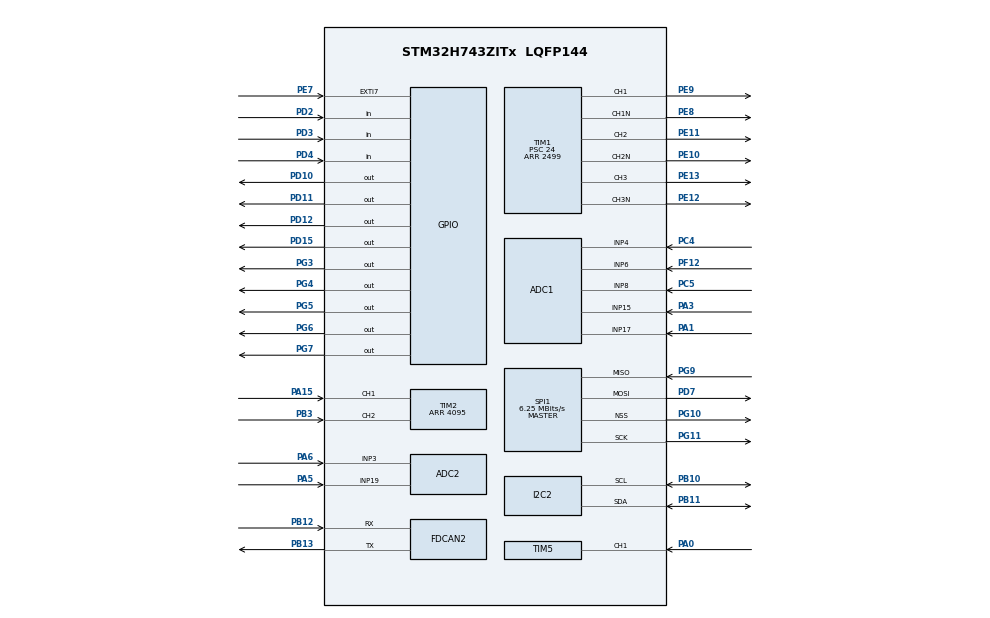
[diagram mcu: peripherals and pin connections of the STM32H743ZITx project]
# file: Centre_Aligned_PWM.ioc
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ADC1.Channel-0\#ChannelRegularConversion=ADC_CHANNEL_6
ADC1.Channel-1\#ChannelRegularConversion=ADC_CHANNEL_4
ADC1.Channel-2\#ChannelRegularConversion=ADC_CHANNEL_8
ADC1.Channel-3\#ChannelRegularConversion=ADC_CHANNEL_17
ADC1.Channel-4\#ChannelRegularConversion=ADC_CHANNEL_15
ADC1.ClockPrescaler=ADC_CLOCK_ASYNC_DIV4
ADC1.ContinuousConvMode=ENABLE
ADC1.ConversionDataManagement=ADC_CONVERSIONDATA_DMA_CIRCULAR
ADC1.ExternalTrigConv=ADC_SOFTWARE_START
ADC1.NbrOfConversion=5
ADC1.NbrOfConversionFlag=1
ADC1.OffsetNumber-0\#ChannelRegularConversion=ADC_OFFSET_NONE
ADC1.OffsetNumber-1\#ChannelRegularConversion=ADC_OFFSET_NONE
ADC1.OffsetNumber-2\#ChannelRegularConversion=ADC_OFFSET_NONE
ADC1.OffsetNumber-3\#ChannelRegularConversion=ADC_OFFSET_NONE
ADC1.OffsetNumber-4\#ChannelRegularConversion=ADC_OFFSET_NONE
ADC1.OffsetSignedSaturation-0\#ChannelRegularConversion=DISABLE
ADC1.OffsetSignedSaturation-1\#ChannelRegularConversion=DISABLE
ADC1.OffsetSignedSaturation-2\#ChannelRegularConversion=DISABLE
ADC1.OffsetSignedSaturation-3\#ChannelRegularConversion=DISABLE
ADC1.OffsetSignedSaturation-4\#ChannelRegularConversion=DISABLE
ADC1.Rank-0\#ChannelRegularConversion=1
ADC1.Rank-1\#ChannelRegularConversion=2
ADC1.Rank-2\#ChannelRegularConversion=3
ADC1.Rank-3\#ChannelRegularConversion=4
ADC1.Rank-4\#ChannelRegularConversion=5
ADC1.SamplingTime-0\#ChannelRegularConversion=ADC_SAMPLETIME_64CYCLES_5
ADC1.SamplingTime-1\#ChannelRegularConversion=ADC_SAMPLETIME_64CYCLES_5
ADC1.SamplingTime-2\#ChannelRegularConversion=ADC_SAMPLETIME_64CYCLES_5
ADC1.SamplingTime-3\#ChannelRegularConversion=ADC_SAMPLETIME_16CYCLES_5
ADC1.SamplingTime-4\#ChannelRegularConversion=ADC_SAMPLETIME_16CYCLES_5
ADC1.master=1
ADC2.ClockPrescaler=ADC_CLOCK_ASYNC_DIV4
ADC2.ContinuousConvMode=DISABLE
ADC2.ConversionDataManagement=ADC_CONVERSIONDATA_DR
ADC2.EnableInjectedConversion=ENABLE
ADC2.EnableRegularConversion=DISABLE
ADC2.ExternalTrigInjecConv=ADC_EXTERNALTRIGINJEC_T1_TRGO2
ADC2.InjNumberOfConversion=2
ADC2.InjectedChannel-4\#ChannelInjectedConversion=ADC_CHANNEL_3
ADC2.InjectedChannel-5\#ChannelInjectedConversion=ADC_CHANNEL_19
ADC2.InjectedConvMode=None
ADC2.InjectedOffsetNumber-4\#ChannelInjectedConversion=ADC_OFFSET_NONE
ADC2.InjectedOffsetNumber-5\#ChannelInjectedConversion=ADC_OFFSET_NONE
ADC2.InjectedOffsetSaturation-4\#ChannelInjectedConversion=DISABLE
ADC2.InjectedOffsetSaturation-5\#ChannelInjectedConversion=DISABLE
ADC2.InjectedOffsetSignedSaturation-4\#ChannelInjectedConversion=DISABLE
ADC2.InjectedOffsetSignedSaturation-5\#ChannelInjectedConversion=DISABLE
ADC2.InjectedRank-4\#ChannelInjectedConversion=1
ADC2.InjectedRank-5\#ChannelInjectedConversion=2
ADC2.InjectedSamplingTime-4\#ChannelInjectedConversion=ADC_SAMPLETIME_64CYCLES_5
ADC2.InjectedSamplingTime-5\#ChannelInjectedConversion=ADC_SAMPLETIME_64CYCLES_5
ADC2.injectedQueueMode=DISABLE
Dma.ADC1.0.Direction=DMA_PERIPH_TO_MEMORY
Dma.ADC1.0.EventEnable=DISABLE
Dma.ADC1.0.FIFOMode=DMA_FIFOMODE_DISABLE
Dma.ADC1.0.Instance=DMA1_Stream0
Dma.ADC1.0.MemDataAlignment=DMA_MDATAALIGN_HALFWORD
Dma.ADC1.0.MemInc=DMA_MINC_ENABLE
Dma.ADC1.0.Mode=DMA_CIRCULAR
Dma.ADC1.0.PeriphDataAlignment=DMA_PDATAALIGN_HALFWORD
Dma.ADC1.0.PeriphInc=DMA_PINC_DISABLE
Dma.ADC1.0.Polarity=HAL_DMAMUX_REQ_GEN_RISING
Dma.ADC1.0.Priority=DMA_PRIORITY_MEDIUM
Dma.ADC1.0.RequestNumber=1
Dma.ADC1.0.SignalID=NONE
Dma.ADC1.0.SyncEnable=DISABLE
Dma.ADC1.0.SyncPolarity=HAL_DMAMUX_SYNC_NO_EVENT
Dma.ADC1.0.SyncRequestNumber=1
Dma.ADC1.0.SyncSignalID=NONE
Dma.Request0=ADC1
FDCAN2.AutoRetransmission=ENABLE
FDCAN2.CalculateBaudRateNominal=250000
FDCAN2.CalculateTimeBitNominal=4000
FDCAN2.CalculateTimeQuantumNominal=200.0
FDCAN2.DataPrescaler=10
FDCAN2.DataTimeSeg1=16
FDCAN2.DataTimeSeg2=3
FDCAN2.NominalPrescaler=10
FDCAN2.NominalTimeSeg1=16
FDCAN2.NominalTimeSeg2=3
FDCAN2.RxBuffersNbr=6
FDCAN2.RxFifo0ElmtsNbr=6
FDCAN2.RxFifo1ElmtsNbr=6
FDCAN2.StdFiltersNbr=8
FDCAN2.TxBuffersNbr=8
FDCAN2.TxFifoQueueElmtsNbr=8
I2C2.CustomTiming=Enabled
I2C2.Timing=0x10C0ECFF
Mcu.Family=STM32H7
Mcu.Name=STM32H743ZITx
Mcu.Package=LQFP144
NVIC.ADC_IRQn=true\:0\:0\:false\:false\:true\:true\:true\:true
NVIC.DMA1_Stream0_IRQn=true\:5\:0\:true\:false\:true\:false\:true\:true
NVIC.EXTI9_5_IRQn=true\:3\:0\:true\:false\:true\:true\:true\:true
NVIC.FDCAN2_IT0_IRQn=true\:6\:0\:true\:false\:true\:true\:true\:true
NVIC.FDCAN2_IT1_IRQn=true\:6\:0\:true\:false\:true\:true\:true\:true
NVIC.PriorityGroup=NVIC_PRIORITYGROUP_4
NVIC.TIM17_IRQn=true\:2\:0\:true\:false\:true\:true\:true\:true
NVIC.TIM2_IRQn=true\:1\:0\:true\:false\:true\:true\:true\:true
NVIC.TIM4_IRQn=true\:7\:0\:true\:false\:true\:true\:true\:true
NVIC.TIM5_IRQn=true\:4\:0\:true\:false\:true\:true\:true\:true
PA0.Signal=S_TIM5_CH1
PA1.Mode=IN17-Single-Ended
PA1.Signal=ADC1_INP17
PA15\ (JTDI).Signal=S_TIM2_CH1_ETR
PA3.Signal=ADCx_INP15
PA5.Signal=ADCx_INP19
PA6.Signal=ADCx_INP3
PB10.Mode=I2C
PB10.Signal=I2C2_SCL
PB11.Mode=I2C
PB11.Signal=I2C2_SDA
PB12.Mode=FDCAN_Activate
PB12.Signal=FDCAN2_RX
PB13.Mode=FDCAN_Activate
PB13.Signal=FDCAN2_TX
PB3\ (JTDO/TRACESWO).Signal=S_TIM2_CH2
PC4.Signal=ADCx_INP4
PC5.Signal=ADCx_INP8
PD10.Signal=GPIO_Output
PD11.Signal=GPIO_Output
PD12.Signal=GPIO_Output
PD15.GPIO_Speed=GPIO_SPEED_FREQ_VERY_HIGH
PD15.PinState=GPIO_PIN_SET
PD15.Signal=GPIO_Output
PD2.Signal=GPIO_Input
PD3.GPIO_PuPd=GPIO_PULLUP
PD3.Signal=GPIO_Input
PD4.GPIO_PuPd=GPIO_PULLUP
PD4.Signal=GPIO_Input
PD7.Mode=Full_Duplex_Master
PD7.Signal=SPI1_MOSI
PE10.Mode=PWM Generation2 CH2 CH2N
PE10.Signal=TIM1_CH2N
PE11.Signal=S_TIM1_CH2
PE12.Mode=PWM Generation3 CH3 CH3N
PE12.Signal=TIM1_CH3N
PE13.Signal=S_TIM1_CH3
PE7.Signal=GPXTI7
PE8.Mode=PWM Generation1 CH1 CH1N
PE8.Signal=TIM1_CH1N
PE9.Signal=S_TIM1_CH1
PF12.Mode=IN6-Single-Ended
PF12.Signal=ADC1_INP6
PG10.Mode=NSS_Signal_Hard_Output
PG10.Signal=SPI1_NSS
PG11.Mode=Full_Duplex_Master
PG11.Signal=SPI1_SCK
PG3.GPIO_PuPd=GPIO_PULLUP
PG3.GPIO_Speed=GPIO_SPEED_FREQ_MEDIUM
PG3.PinState=GPIO_PIN_SET
PG3.Signal=GPIO_Output
PG4.GPIO_PuPd=GPIO_PULLUP
PG4.GPIO_Speed=GPIO_SPEED_FREQ_MEDIUM
PG4.PinState=GPIO_PIN_SET
PG4.Signal=GPIO_Output
PG5.GPIO_PuPd=GPIO_PULLDOWN
PG5.GPIO_Speed=GPIO_SPEED_FREQ_MEDIUM
PG5.Signal=GPIO_Output
PG6.GPIO_ModeDefaultOutputPP=GPIO_MODE_OUTPUT_PP
PG6.GPIO_PuPd=GPIO_PULLDOWN
PG6.GPIO_Speed=GPIO_SPEED_FREQ_MEDIUM
PG6.Signal=GPIO_Output
PG7.GPIO_PuPd=GPIO_PULLDOWN
PG7.GPIO_Speed=GPIO_SPEED_FREQ_MEDIUM
PG7.Signal=GPIO_Output
PG9.Mode=Full_Duplex_Master
PG9.Signal=SPI1_MISO
ProjectManager.HeapSize=0x200
ProjectManager.StackSize=0x400
ProjectManager.TargetToolchain=STM32CubeIDE
RCC.ADCFreq_Value=37500000
RCC.APB1Freq_Value=50000000
RCC.APB2Freq_Value=100000000
RCC.APB3Freq_Value=100000000
RCC.APB4Freq_Value=100000000
RCC.CortexFreq_Value=100000000
RCC.D2PPRE1=RCC_APB1_DIV2
RCC.DIVM1=4
RCC.DIVM2=4
RCC.DIVN1=12
RCC.DIVN2=9
RCC.DIVP2=4
RCC.DIVQ1=4
RCC.FLatency=FLASH_LATENCY_2
RCC.HCLKFreq_Value=100000000
RCC.HSICalibrationValue=64
RCC.PLL2FRACN=3072
RCC.PLLFRACN=4096
RCC.ProductRev=revV
RCC.SYSCLKFreq_VALUE=100000000
RCC.SYSCLKSource=RCC_SYSCLKSOURCE_PLLCLK
RCC.USBFreq_Value=50000000
SH.ADCx_INP15.0=ADC1_INP15,IN15-Single-Ended
SH.ADCx_INP19.0=ADC2_INP19,IN19-Single-Ended
SH.ADCx_INP3.0=ADC2_INP3,IN3-Single-Ended
SH.ADCx_INP4.0=ADC1_INP4,IN4-Single-Ended
SH.ADCx_INP8.0=ADC1_INP8,IN8-Single-Ended
SH.S_TIM1_CH1.0=TIM1_CH1,PWM Generation1 CH1 CH1N
SH.S_TIM1_CH2.0=TIM1_CH2,PWM Generation2 CH2 CH2N
SH.S_TIM1_CH3.0=TIM1_CH3,PWM Generation3 CH3 CH3N
SH.S_TIM2_CH1_ETR.0=TIM2_CH1,Encoder_Interface
SH.S_TIM2_CH2.0=TIM2_CH2,Encoder_Interface
SH.S_TIM5_CH1.0=TIM5_CH1,PWM_Input_1
SPI1.BaudRatePrescaler=SPI_BAUDRATEPRESCALER_8
SPI1.CLKPhase=SPI_PHASE_2EDGE
SPI1.CLKPolarity=SPI_POLARITY_HIGH
SPI1.CalculateBaudRate=6.25 MBits/s
SPI1.DataSize=SPI_DATASIZE_8BIT
SPI1.Direction=SPI_DIRECTION_2LINES
SPI1.Mode=SPI_MODE_MASTER
SPI1.NSSPMode=SPI_NSS_PULSE_DISABLE
SPI1.NSSPolarity=SPI_NSS_POLARITY_LOW
SPI1.VirtualNSS=VM_NSSHARD
SPI1.VirtualType=VM_MASTER
TIM1.AutoReloadPreload=TIM_AUTORELOAD_PRELOAD_ENABLE
TIM1.Channel-PWM\ Generation1\ CH1\ CH1N=TIM_CHANNEL_1
TIM1.Channel-PWM\ Generation2\ CH2\ CH2N=TIM_CHANNEL_2
TIM1.Channel-PWM\ Generation3\ CH3\ CH3N=TIM_CHANNEL_3
TIM1.Channel-PWM\ Generation4\ No\ Output=TIM_CHANNEL_4
TIM1.CounterMode=TIM_COUNTERMODE_CENTERALIGNED1
TIM1.DeadTime=200
TIM1.OCNIdleState_1=TIM_OCNIDLESTATE_SET
TIM1.OCNIdleState_2=TIM_OCNIDLESTATE_SET
TIM1.OCNIdleState_3=TIM_OCNIDLESTATE_SET
TIM1.OCNPolarity_1=TIM_OCNPOLARITY_HIGH
TIM1.Period=2499
TIM1.Prescaler=24
TIM1.Pulse-PWM\ Generation3\ CH3\ CH3N=0
TIM1.Pulse-PWM\ Generation4\ No\ Output=1250
TIM1.RepetitionCounter=0
TIM1.TIM_MasterOutputTrigger=TIM_TRGO_RESET
TIM1.TIM_MasterOutputTrigger2=TIM_TRGO2_OC4REF
TIM1.TIM_MasterSlaveMode=TIM_MASTERSLAVEMODE_ENABLE
TIM17.AutoReloadPreload=TIM_AUTORELOAD_PRELOAD_ENABLE
TIM17.Period=2499
TIM17.Prescaler=3
TIM2.AutoReloadPreload=TIM_AUTORELOAD_PRELOAD_ENABLE
TIM2.EncoderMode=TIM_ENCODERMODE_TI12
TIM2.IC1Filter=10
TIM2.IC2Filter=10
TIM2.Period=4095
TIM5.ICFilter_1=10
TIM5.ICFilter_2=10
TIM5.Prescaler=99
VP_TIM17_VS_ClockSourceINT.Mode=Enable_Timer
VP_TIM1_VS_ClockSourceINT.Mode=Internal
VP_TIM1_VS_no_output4.Mode=PWM Generation4 No Output
VP_TIM4_VS_ClockSourceINT.Mode=Internal
VP_TIM5_VS_ClockSourceINT.Mode=Internal
board=custom

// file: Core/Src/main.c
/* USER CODE BEGIN Header */
/**
 ******************************************************************************
 * @file           : main.c
 * @brief          : Main program body
 ******************************************************************************
 * @attention
 *
 * Copyright (c) 2025 STMicroelectronics.
 * All rights reserved.
 *
 * This software is licensed under terms that can be found in the LICENSE file
 * in the root directory of this software component.
 * If no LICENSE file comes with this software, it is provided AS-IS.
 *
 ******************************************************************************
 */
/* USER CODE END Header */
#include "main.h"

ADC_HandleTypeDef hadc1;
ADC_HandleTypeDef hadc2;
DMA_HandleTypeDef hdma_adc1;

FDCAN_HandleTypeDef hfdcan2;

I2C_HandleTypeDef hi2c2;

SPI_HandleTypeDef hspi1;

TIM_HandleTypeDef htim1;
TIM_HandleTypeDef htim2;
TIM_HandleTypeDef htim4;
TIM_HandleTypeDef htim5;
TIM_HandleTypeDef htim17;

/* USER CODE BEGIN 0 */
uint8_t heart_beat_init[8] = {0x01, 0x04};
uint8_t rxMsg[8] = {0};
uint16_t injectedVal[2] = {0};
uint16_t currSensOff[2] = {0, 0};
uint16_t adc1_buffer[5] = {0};
uint16_t counter = 0;
uint32_t ia_offset = 0;
uint32_t ib_offset = 0;

/* Autotune stuct instances */
tag_AngleAutoTuneDebugParam TagAutotuneDebug;
tag_AngleAutoTuneOutputParam TagAutotuneOutput;
tag_AngleAutoTuneInputParam TagAutotuneInput;
tag_AutotuneConfig AutotuneConfig;

fnr_state_t fnr_state = NEUTRAL;
power_mode_t pw_state = ECO;
currSession cS = INIT;
errors_nums err = NO_ERROR;
errors er = {0};
can_data_t can_d = {.can_Lambda = LAMBDA, .can_Ld = LD, .can_Lq = LQ, .canFW_params.M_to_F = FW_M2F, .canFW_params.F_to_M = FW_F2M, .canFW_params.Kaw = FW_KAW, .canFW_params.Kfw = FW_KFW, .canFW_params.Rst_Factor = FW_RST_FACTOR, .canSpeed_PID.Kp = SPEED_KP, .canSpeed_PID.Ki = SPEED_KI, .canSpeed_PID.Kd = SPEED_KD, .canSpeed_PID.Back_Kaw = SPEED_PID_BACK_KAW, .canSpeed_PID.Kd_Filter = SPEED_KD_FILTER, .canSpeed_PID.Output_Up_Limit = SPEED_PID_OUT_UPL, .canSpeed_PID.Output_Low_Limit = SPEED_PID_OUT_LOWL, .canId_PID.Kp = ID_KP, .canId_PID.Ki = ID_KI, .canId_PID.Kd = ID_KD, .canId_PID.Back_Kaw = ID_PID_BACK_KAW, .canId_PID.Kd_Filter = ID_KD_FILTER, .canId_PID.Output_Up_Limit = ID_PID_OUT_UPL, .canId_PID.Output_Low_Limit = ID_PID_OUT_LOWL, .canIq_PID.Kp = IQ_KP, .canIq_PID.Ki = IQ_KI, .canIq_PID.Kd = IQ_KD, .canIq_PID.Back_Kaw = IQ_PID_BACK_KAW, .canIq_PID.Kd_Filter = IQ_KD_FILTER, .canIq_PID.Output_Up_Limit = IQ_PID_OUT_UPL, .canIq_PID.Output_Low_Limit = IQ_PID_OUT_LOWL};
data d = {.tuning_enabled = 0, .canBus_ok = 1, .Kvf = V_F_RATIO, .speed_ref = 0.0f, .start_alignment = 1, .end_alignment = 0, .Vmax_SVM = SVM_VOLTAGE_LIMIT, .pole_pair = POLEPAIRS, .Vdc = OP_VOLTAGE};

/* P4 pending flags — EEPROM write deferred out of TIM17 ISR */
static volatile uint8_t  eeprom_write_pending = 0;
static volatile uint16_t eeprom_cw_pending    = 0;
static volatile uint16_t eeprom_ccw_pending   = 0;
/* USER CODE END 0 */

int main(void)
{
  /* USER CODE BEGIN 1 */
  SCB_EnableICache();
  /* USER CODE END 1 */

  /* MCU Configuration--------------------------------------------------------*/

  /* Reset of all peripherals, Initializes the Flash interface and the Systick. */
  HAL_Init();

  /* Configure the system clock */
  SystemClock_Config();

/* Configure the peripherals common clocks */
  PeriphCommonClock_Config();

  /* USER CODE BEGIN SysInit */
  #if EST_CYC_CNT
  CoreDebug->DEMCR |= CoreDebug_DEMCR_TRCENA_Msk;
  DWT->CYCCNT = 0;
  DWT->CTRL |= DWT_CTRL_CYCCNTENA_Msk;
  #endif
  /* USER CODE END SysInit */

  /* Initialize all configured peripherals */
  MX_GPIO_Init();
  MX_DMA_Init();
  MX_TIM1_Init();
  MX_ADC2_Init();
  MX_TIM5_Init();
  MX_TIM17_Init();
  MX_ADC1_Init();
  MX_TIM2_Init();
  MX_FDCAN2_Init();
  MX_I2C2_Init();
  MX_TIM4_Init();
  MX_SPI1_Init();
  /* USER CODE BEGIN 2 */
  HAL_Delay(10);

  /* Stopping all TIM1 for safety precauiton at program start */
  HAL_TIM_PWM_Stop(&htim1, TIM_CHANNEL_3);
  HAL_TIM_PWM_Stop(&htim1, TIM_CHANNEL_2);
  HAL_TIM_PWM_Stop(&htim1, TIM_CHANNEL_1);

  HAL_TIMEx_PWMN_Stop(&htim1, TIM_CHANNEL_3);
  HAL_TIMEx_PWMN_Stop(&htim1, TIM_CHANNEL_2);
  HAL_TIMEx_PWMN_Stop(&htim1, TIM_CHANNEL_1);
  /* USER CODE END 2 */

  /* Infinite loop */
  /* USER CODE BEGIN WHILE */
  /* First read EEPROM for calib done flag */
  Read_EEPROM_at_init();
  HAL_Delay(10);

  #if TUNING_ENABLED
  d.tuning_enabled = 1;
  #endif

  #if !TUNING_ENABLED
  d.tuning_enabled = 0;
  cS = ANGLE_CALIB_DONE;
  #endif

  if (cS == INIT && d.tuning_enabled) {
    AD2S1210_Init();
    set_Initial_angle();
    /* Setting Auto tune algo input params */
    AutotuneConfig.f_idSetRef = AUTO_TUNING_IDREF;
    AutotuneConfig.f_IdRefIncrementValue = AUTOTUNE_IDREF_INCREMENT;
    AutotuneConfig.f_CalibElectricalAngleInc = AUTOTUNE_ANGLE_INCREMENT;
    AutotuneConfig.F_MaxVd = MAX_VD;
    AutotuneConfig.F_MinVd = MIN_VD;
    AutotuneConfig.f_Electrical360Rad = ANGLE_RAD_360;
    AutotuneConfig.u8_MOTOR_POLE_PAIRS = MOTOR_POLE_PAIRS;
    AutotuneConfig.u16_AO_Set_Time = AO_SET_TIME;
    AutotuneConfig.u16FreeRunTmo = AUTOTUNE_FREERUNCOUNT;
    AutotuneConfig.f_Autotune_RPM_Set_Ref = TUNING_CALC_RPM;
    AutotuneConfig.u16StateChangeTMO = AUTOTUNESTATE_CHANGE_TMO;
    AutotuneConfig.u16_AUTOTUN_SPEED_RAMP_TIME = AUTOTUN_SPEED_RAMP_TIME;
    AutotuneConfig.u16_AUTOTUNE_SPEED_RAMP = AUTOTUNE_SPEED_RAMP;
    AutotuneConfig.u16_MAX_ITERATION = MAX_ITERATION;
    AutotuneConfig.u16_ALIGNEMENT_TMO = ALIGNEMENT_TMO;
    AutotuneConfig.u16_AVERAGE_SAMPLE = AVERAGE_SAMPLE;
    AutotuneConfig.u16_VD_VQ_AVERAGE_COUNT = VD_VQ_AVERAGE_COUNT;
    AutotuneInit(&AutotuneConfig);
  } else if (cS == ANGLE_CALIB_DONE) {
    #if RESOLVER_ENABLED
    AD2S1210_Init();
    set_Initial_angle();
    #endif
    #if !RESOLVER_ENABLED
    set_Initial_angle();
    #endif
    Disable_tim5();
    //cS = ENC_READ;
  }
    /* USER CODE END WHILE */

    /* USER CODE BEGIN 3 */
  // Start encoder capture on both channels with interrupts
  if (HAL_TIM_Encoder_Start_IT(&htim2, TIM_CHANNEL_ALL) != HAL_OK)
    Error_Handler();

  __HAL_TIM_SET_COMPARE(&htim1, TIM_CHANNEL_3, 0);
  __HAL_TIM_SET_COMPARE(&htim1, TIM_CHANNEL_2, 0);
  __HAL_TIM_SET_COMPARE(&htim1, TIM_CHANNEL_1, 0);

  HAL_ADCEx_Calibration_Start(&hadc2, ADC_CALIB_OFFSET, ADC_SINGLE_ENDED);
  HAL_ADCEx_Calibration_Start(&hadc1, ADC_CALIB_OFFSET, ADC_SINGLE_ENDED);
  HAL_Delay(10);

  HAL_ADC_Start_DMA(&hadc1, (uint32_t *)adc1_buffer, 5);

  /* Initializing FOC and Protections model */
  FOC_MTPA_FWC_FF_initialize();
  Open_FOC0_initialize();
  Offset0_initialize();
  Angle_to_Speed_initialize();
  #if PROTECTION_MODEL
  MCU_Protections_initialize();
  #endif
  RateLimiter_Init(&limiter, 100.0f, 600.0f, 0.0f);
  RateLimiter_Init(&torqueRate, 10.0f, 10.0f, 0.0f);
  #if OFFSET_SCHEDULER
  OffsetScheduler_Init(&g_offset_sched, d.offset_angle_mech_cw, OFFSET_HIGH_RAD, d.offset_angle_mech_ccw);
  #endif
  HAL_Delay(10);

  /*Starting FDCAN2, Queue Init and Throttle Init*/
  FDCAN_SETUP();
  CAN_Queue_Init();
  #if THROTTLE_BASED_REF
  App_Init();
  #endif

  /*Sending Heartbeat message once at init and sending PID values*/
  _fdcan_transmit_on_can(0x400, 0, heart_beat_init, 0x08);
  /* Enable LED */
  HAL_GPIO_WritePin(GPIOD, GPIO_PIN_10|GPIO_PIN_11|GPIO_PIN_12, GPIO_PIN_SET);

  /*Starting ADC2 Injected conversions first*/
  HAL_ADCEx_InjectedStart_IT(&hadc2);
  HAL_TIM_Base_Start_IT(&htim17);

  /*Then starting TIM1 complementary channels and trigger channel*/
  HAL_TIM_PWM_Start(&htim1, TIM_CHANNEL_3);
  HAL_TIM_PWM_Start(&htim1, TIM_CHANNEL_2);
  HAL_TIM_PWM_Start(&htim1, TIM_CHANNEL_1);

  HAL_TIMEx_PWMN_Start(&htim1, TIM_CHANNEL_3);
  HAL_TIMEx_PWMN_Start(&htim1, TIM_CHANNEL_2);
  HAL_TIMEx_PWMN_Start(&htim1, TIM_CHANNEL_1);

  HAL_TIM_PWM_Start(&htim1, TIM_CHANNEL_4);

  while (1)
  {
    /* USER CODE END WHILE */

    /* USER CODE BEGIN 3 */
    uint32_t time_stamp_now = HAL_GetTick();

    /* P4: deferred EEPROM write (ISR set flag to avoid blocking 1kHz TIM17) */
    if (eeprom_write_pending && cS == ANGLE_CALIB_DONE)
    {
      eeprom_write_pending = 0;
      if (EEPROM_Write_Page0(eeprom_cw_pending, eeprom_ccw_pending) == HAL_OK)
        HAL_NVIC_SystemReset();
      else
      {
        er.eeprom_write_error = 1;
        err = EEPROM_WRITE_ERROR;
      }
    }

    if (cS == FOC_START)
      power_mode_fnr_switch();

    /* Gathering ADC1 values */
    ADC1_Analog_Val_Update();
    #if PROTECTION_MODEL
    /* MCU Proctections Model input update */
    Model_Params_Input();
    /* Running MCU protections model */
    MCU_Protections_step();
    /* Checking the MCU Protections Model output flags and setting error flags */
    Model_Output_Flag_Checks();
    #endif

    #if CAN_BASED_REF
    if (cS == FOC_START && FOC_MTPA_FWC_FF_U.Speed_1_Torque_0 == 1)
      FOC_MTPA_FWC_FF_U.Ref_Speed_mech_rpm = RateLimiter_Update(&limiter, d.speed_ref, ((float)time_stamp_now * 0.001f));
    else if (cS == OPEN_FOC_START)
      Open_FOC0_U.Speed_ref = RateLimiter_Update(&limiter, d.speed_ref, ((float)time_stamp_now * 0.001f));
    #endif

    #if THROTTLE_BASED_REF
    if (FOC_MTPA_FWC_FF_U.Speed_1_Torque_0 == 1 && cS == FOC_START) {
      d.speed_ref = (float)ThrottleMap_GetRPM(&g_throttle_cfg, d.thr_v_mv);
      /* Pass target_rpm into your FOC speed reference */
      FOC_MTPA_FWC_FF_U.Ref_Speed_mech_rpm = RateLimiter_Update(&limiter, d.speed_ref, ((float)time_stamp_now * 0.001f));
    } else if (FOC_MTPA_FWC_FF_U.Speed_1_Torque_0 == 0 && cS == FOC_START) {
      float max_torque = get_torque_speed_limit(d.rad_s);
      float torque_ref = ThrottleMap_GetTorque(&g_throttle_cfg, d.thr_v_mv, max_torque);
      d.torque_final = apply_torque_scaling(torque_ref, d.rad_s, pw_state, fnr_state, (float)d.Mtr_temp, (float)d.Mtc_temp, &taper_state, &derate_result);
      /* Pass target_reftrq into your FOC Torque reference */
      FOC_MTPA_FWC_FF_U.RefTrq = d.torque_final;
    }
    #endif
  }
  /* USER CODE END 3 */
}

/* USER CODE BEGIN 4 */
void HAL_ADCEx_InjectedConvCpltCallback(ADC_HandleTypeDef *hadc)
{
  if (hadc->Instance == ADC2)
  {
    /* Reading injected values for the 2 phases */
    injectedVal[PHASE_U] = HAL_ADCEx_InjectedGetValue(hadc, ADC_INJECTED_RANK_1);
    injectedVal[PHASE_V] = HAL_ADCEx_InjectedGetValue(hadc, ADC_INJECTED_RANK_2);

    if (cS == CURR_SENS_CALIB)
    {
      /* Calibrating current sensor offsets */
      ia_offset += injectedVal[PHASE_U];
      ib_offset += injectedVal[PHASE_V];
      counter++;

      if (counter >= NO_OF_SAMPLES)
      {
        ia_offset = ia_offset / NO_OF_SAMPLES;
        ib_offset = ib_offset / NO_OF_SAMPLES;

        currSensOff[PHASE_U] = ia_offset;
        currSensOff[PHASE_V] = ib_offset;

        ia_offset = 0;
        ib_offset = 0;
        counter = 0;

        /* Setting TIM1 PWM freq to 10kHz and setting TIM2 counter reg to inital angle count */
        __HAL_TIM_SET_PRESCALER(&htim1, 3);
        __HAL_TIM_SET_AUTORELOAD(&htim1, 2499);
        __HAL_TIM_SET_COUNTER(&htim2, d.Count_From_Duty);

        /* Setting elec angle to 0 */
        d.elec_angle = 0.0f;

        #if ENABLE_FAULTS
        /* Running initial fault check */
        d.init_check = Initial_Fault_Check();

        /* Checking if inital fault check is OK and turning on the Gate drivers*/
        if (d.init_check == HAL_OK)
        {
          HAL_GPIO_WritePin(GPIOD, GPIO_PIN_15, GPIO_PIN_RESET);
          if ((d.start_alignment == 1 && d.end_alignment == 0) && d.tuning_enabled) {
            FOC_MTPA_FWC_FF_U.Speed_1_Torque_0 = 1.0f;
            cS = ANGLE_CALIB;
          } else if (CLOSED_FOC) {
            FOC_MTPA_FWC_FF_U.Speed_1_Torque_0 = 1.0f;
            cS = FOC_START;
          } else if (OPEN_FOC) {
            Open_FOC0_U.Theta_1_Speed_0 = 0.0f;
            cS = OPEN_FOC_START;
          }
        }
        else if (d.init_check == !HAL_OK)
        {
          HAL_GPIO_WritePin(GPIOD, GPIO_PIN_15, GPIO_PIN_SET);
          cS = CONT_ERROR;
          disable_drive();
        }
        #endif

        #if DISABLE_FAULTS
        HAL_GPIO_WritePin(GPIOD, GPIO_PIN_15, GPIO_PIN_RESET);
        if (OPEN_FOC) {
          Open_FOC0_U.Theta_1_Speed_0 = 0.0f;
          cS = OPEN_FOC_START;
        } else if (CLOSED_FOC) {
          FOC_MTPA_FWC_FF_U.Speed_1_Torque_0 = 1.0f;
          cS = FOC_START;
        }
        #endif
      }
    }

    else if (cS == ANGLE_CALIB)
    {
      static uint8_t milli_counter = 0;
      milli_counter++;

      // if(!TagAutotuneOutput.AutotuneCompleteflag){
      //   TagAutotuneInput.AutotuneFlag = ANGLE_AUTOTUNE;
      // }
      // else{
      //   TagAutotuneInput.AutotuneFlag = NORMAL_RUN;
      // }

      if(milli_counter >= 10)
      {
        milli_counter = 0;
        Offset0_U.Pwmangle = TWO_PI - AD2S1210_ReadAngle();
        //TagAutotuneInput.f_MotorRpm = d.RPM;
        Offset0_U.Vq = FOC_MTPA_FWC_FF_Y.Vq;
        Offset0_U.Vd = FOC_MTPA_FWC_FF_Y.Vd;

        // AngleAutotuningRoutine(&TagAutotuneInput, &TagAutotuneOutput, &TagAutotuneDebug);

        Offset0_step();
      }

      if(Offset0_Y.FOC_closed_loop == 0){
          /* Updating phase current data */
          Open_FOC0_U.Phase_current[2] = (float)(injectedVal[PHASE_U] - currSensOff[PHASE_U]) * ADC_TO_CURR;
          Open_FOC0_U.Phase_current[1] = (float)(injectedVal[PHASE_V] - currSensOff[PHASE_V]) * ADC_TO_CURR;
          Open_FOC0_U.Phase_current[0] = 0.0f - Open_FOC0_U.Phase_current[1] - Open_FOC0_U.Phase_current[2];

          Open_FOC0_U.Id_ref = Offset0_Y.Idref;
          Open_FOC0_U.Iq_ref = Offset0_Y.Iqref;
          Open_FOC0_U.Theta_e_ref = Offset0_Y.Electricalangle;

          /* Running Open FOC model */
          Open_FOC0_step();

          d.Va_SVM = Open_FOC0_Y.Va;
          d.Vb_SVM = Open_FOC0_Y.Vb;
          d.Vc_SVM = Open_FOC0_Y.Vc;
      }

      else if(Offset0_Y.FOC_closed_loop == 1){
        /* Updating pahse current data */
        FOC_MTPA_FWC_FF_U.PhaseCurrent[2] = (float)(injectedVal[PHASE_U] - currSensOff[PHASE_U]) * ADC_TO_CURR;
        FOC_MTPA_FWC_FF_U.PhaseCurrent[1] = (float)(injectedVal[PHASE_V] - currSensOff[PHASE_V]) * ADC_TO_CURR;
        FOC_MTPA_FWC_FF_U.PhaseCurrent[0] = 0.0f - FOC_MTPA_FWC_FF_U.PhaseCurrent[1] - FOC_MTPA_FWC_FF_U.PhaseCurrent[2];

        FOC_MTPA_FWC_FF_U.Throttle_input.Throttle_Inst_Voltage = THR_MIN_VAL;
        FOC_MTPA_FWC_FF_U.Ref_Speed_mech_rpm = Offset0_Y.MotorRpmRef;

        if(Offset0_Y.FNR == Forward){
          FOC_MTPA_FWC_FF_U.Drive_State = Forward;
          d.ATA_Offset = Offset0_Y.Offset_CW;
        }
        else if(Offset0_Y.FNR == Reverse){
          FOC_MTPA_FWC_FF_U.Drive_State = Reverse;
          d.ATA_Offset = Offset0_Y.Offset_CCW;
        }
        else if(Offset0_Y.FNR == Neutral){
          FOC_MTPA_FWC_FF_U.Drive_State = Neutral;
        }
        else{
          FOC_MTPA_FWC_FF_U.Drive_State = Throttle_Error;
        }

        d.encoder_count = __HAL_TIM_GET_COUNTER(&htim2);
        d.mech_angle = ((float)d.encoder_count * COUNTS_TO_RADS);
        d.mech_angle = fmodf(d.mech_angle, TWO_PI);

        /* Updating elec angle data */
        d.elec_angle = (d.mech_angle * POLEPAIRS);
        d.elec_angle = fmodf(d.elec_angle - d.ATA_Offset, TWO_PI);
        if (d.elec_angle < 0.0f) d.elec_angle += TWO_PI;
        FOC_MTPA_FWC_FF_U.angle = d.elec_angle;

        /* Running the FOC model */
        rt_OneStep();

        /* SVM and PWM update */
        d.Va_SVM = FOC_MTPA_FWC_FF_Y.Va;
        d.Vb_SVM = FOC_MTPA_FWC_FF_Y.Vb;
        d.Vc_SVM = FOC_MTPA_FWC_FF_Y.Vc;
      }

      if (Offset0_Y.AutotuneCompleteflag == true)
      {
        d.start_alignment = 0;
        d.end_alignment = 1;
        d.offset_angle_mech_cw = TagAutotuneOutput.f_Offset_CW;
        d.offset_angle_mech_ccw = TagAutotuneOutput.f_Offset_CCW;
        cS = ANGLE_OFFSET_STORE;
      }

      if (d.Va_SVM > d.Vmax_SVM)
      {
        d.Va_SVM = d.Vmax_SVM;
      }
      else if (d.Va_SVM < -d.Vmax_SVM)
      {
        d.Va_SVM = -d.Vmax_SVM;
      }

      if (d.Vb_SVM > d.Vmax_SVM)
      {
        d.Vb_SVM = d.Vmax_SVM;
      }
      else if (d.Vb_SVM < -d.Vmax_SVM)
      {
        d.Vb_SVM = -d.Vmax_SVM;
      }

      if (d.Vc_SVM > d.Vmax_SVM)
      {
        d.Vc_SVM = d.Vmax_SVM;
      }
      else if (d.Vc_SVM < -d.Vmax_SVM)
      {
        d.Vc_SVM = -d.Vmax_SVM;
      }

      d.pwm_a = (uint16_t)((d.Va_SVM / d.Vmax_SVM) * TIM1_ARR_HALF + TIM1_ARR_HALF);
      d.pwm_b = (uint16_t)((d.Vb_SVM / d.Vmax_SVM) * TIM1_ARR_HALF + TIM1_ARR_HALF);
      d.pwm_c = (uint16_t)((d.Vc_SVM / d.Vmax_SVM) * TIM1_ARR_HALF + TIM1_ARR_HALF);

      __HAL_TIM_SET_COMPARE(&htim1, TIM_CHANNEL_1, d.pwm_a);
      __HAL_TIM_SET_COMPARE(&htim1, TIM_CHANNEL_2, d.pwm_b);
      __HAL_TIM_SET_COMPARE(&htim1, TIM_CHANNEL_3, d.pwm_c);
    }

    else if (cS == FOC_START)
    {
      #if EST_CYC_CNT
      /* Current count for time estimation */
      uint32_t start = DWT->CYCCNT;
      #endif
      /* Updating phase current data */
	  FOC_MTPA_FWC_FF_U.PhaseCurrent[2] = (float)(injectedVal[PHASE_U] - currSensOff[PHASE_U]) * ADC_TO_CURR;
      FOC_MTPA_FWC_FF_U.PhaseCurrent[1] = (float)(injectedVal[PHASE_V] - currSensOff[PHASE_V]) * ADC_TO_CURR;
      FOC_MTPA_FWC_FF_U.PhaseCurrent[0] = 0.0f - FOC_MTPA_FWC_FF_U.PhaseCurrent[1] - FOC_MTPA_FWC_FF_U.PhaseCurrent[2];

      #if !RESOLVER_ENABLED
      /* Updating angle data */
      d.encoder_count = __HAL_TIM_GET_COUNTER(&htim2);
      if (FOC_MTPA_FWC_FF_Y.Throttle_State == (ThrottleState)FORWARD)
        d.mech_angle = ((float)d.encoder_count * COUNTS_TO_RADS) - d.offset_angle_mech_cw;
      else if (FOC_MTPA_FWC_FF_Y.Throttle_State == (ThrottleState)REVERSE)
        d.mech_angle = ((float)d.encoder_count * COUNTS_TO_RADS) - d.offset_angle_mech_ccw;
      else if (FOC_MTPA_FWC_FF_Y.Throttle_State == (ThrottleState)NEUTRAL)
        d.mech_angle = ((float)d.encoder_count * COUNTS_TO_RADS) - d.offset_angle_mech_avg;
      d.mech_angle = fmodf(d.mech_angle, TWO_PI);
      d.elec_angle = (d.mech_angle * POLEPAIRS);
      d.elec_angle = fmodf(d.elec_angle, TWO_PI);
      #endif

      #if RESOLVER_ENABLED
      /* Updating mech angle data */
      d.encoder_count = __HAL_TIM_GET_COUNTER(&htim2);
      d.mech_angle = ((float)d.encoder_count * COUNTS_TO_RADS);
      d.mech_angle = fmodf(d.mech_angle, TWO_PI);
      d.elec_angle = (d.mech_angle * POLEPAIRS);
      d.elec_angle = fmodf(d.elec_angle - 4.24f, TWO_PI);
      if (d.elec_angle < 0.0f) d.elec_angle += TWO_PI;
      d.elec_angle_resolver = TWO_PI - AD2S1210_ReadAngle();
      d.elec_angle_resolver = fmodf(d.elec_angle_resolver, TWO_PI);
      #endif

      #if OFFSET_SCHEDULER
      /* Updating mech angle data */
      d.encoder_count = __HAL_TIM_GET_COUNTER(&htim2);
      d.mech_angle = ((float)d.encoder_count * COUNTS_TO_RADS);
      d.mech_angle = fmodf(d.mech_angle, TWO_PI);

      /* Updating elec angle data */
      OffsetScheduler_Update(&g_offset_sched, d.irms, fnr_state, 0.0001f);
      d.elec_angle = OffsetScheduler_GetTheta(&g_offset_sched, d.mech_angle, d.omega_e, POLEPAIRS);
      d.elec_angle = fmodf(d.elec_angle, TWO_PI);
      #endif

      #if RESOLVER_ENABLED
      FOC_MTPA_FWC_FF_U.angle = d.elec_angle; // Using resolver angle for FOC
      #endif

      #if !RESOLVER_ENABLED
      FOC_MTPA_FWC_FF_U.MtrElcPos = d.elec_angle; // Using encoder angle for FOC
      #endif

      /* Running the FOC model */
      rt_OneStep();

      /* SVM and PWM update */
      d.Va_SVM = FOC_MTPA_FWC_FF_Y.Va;
      d.Vb_SVM = FOC_MTPA_FWC_FF_Y.Vb;
      d.Vc_SVM = FOC_MTPA_FWC_FF_Y.Vc;

      if (d.Va_SVM > d.Vmax_SVM)
      {
        d.Va_SVM = d.Vmax_SVM;
      }
      else if (d.Va_SVM < -d.Vmax_SVM)
      {
        d.Va_SVM = -d.Vmax_SVM;
      }

      if (d.Vb_SVM > d.Vmax_SVM)
      {
        d.Vb_SVM = d.Vmax_SVM;
      }
      else if (d.Vb_SVM < -d.Vmax_SVM)
      {
        d.Vb_SVM = -d.Vmax_SVM;
      }

      if (d.Vc_SVM > d.Vmax_SVM)
      {
        d.Vc_SVM = d.Vmax_SVM;
      }
      else if (d.Vc_SVM < -d.Vmax_SVM)
      {
        d.Vc_SVM = -d.Vmax_SVM;
      }

      d.pwm_a = (uint16_t)((d.Va_SVM / d.Vmax_SVM) * TIM1_ARR_HALF + TIM1_ARR_HALF);
      d.pwm_b = (uint16_t)((d.Vb_SVM / d.Vmax_SVM) * TIM1_ARR_HALF + TIM1_ARR_HALF);
      d.pwm_c = (uint16_t)((d.Vc_SVM / d.Vmax_SVM) * TIM1_ARR_HALF + TIM1_ARR_HALF);

      __HAL_TIM_SET_COMPARE(&htim1, TIM_CHANNEL_1, d.pwm_a);
      __HAL_TIM_SET_COMPARE(&htim1, TIM_CHANNEL_2, d.pwm_b);
      __HAL_TIM_SET_COMPARE(&htim1, TIM_CHANNEL_3, d.pwm_c);

      #if EST_CYC_CNT
      /* Finally calculating the total time taken */
      uint32_t end = DWT->CYCCNT;
      d.cycles = end - start;
      #endif
    }

    else if (OPEN_FOC_START)
    {
      Open_FOC0_U.Phase_current[2] = (float)(injectedVal[PHASE_U] - currSensOff[PHASE_U]) * ADC_TO_CURR;
      Open_FOC0_U.Phase_current[1] = (float)(injectedVal[PHASE_V] - currSensOff[PHASE_V]) * ADC_TO_CURR;
      Open_FOC0_U.Phase_current[0] = 0.0f - Open_FOC0_U.Phase_current[1] - Open_FOC0_U.Phase_current[2];

      /* Getting angle from resolver */
      d.elec_angle_resolver = TWO_PI - AD2S1210_ReadAngle();
      d.elec_angle_resolver = fmodf(d.elec_angle_resolver, TWO_PI);

      /* Updating mech angle data */
      d.encoder_count = __HAL_TIM_GET_COUNTER(&htim2);
      d.mech_angle = ((float)d.encoder_count * COUNTS_TO_RADS);
      d.mech_angle = fmodf(d.mech_angle, TWO_PI);

      Open_FOC0_step();

      d.Va_SVM = Open_FOC0_Y.Va;
      d.Vb_SVM = Open_FOC0_Y.Vb;
      d.Vc_SVM = Open_FOC0_Y.Vc;

      if (d.Va_SVM > d.Vmax_SVM)
      {
        d.Va_SVM = d.Vmax_SVM;
      }
      else if (d.Va_SVM < -d.Vmax_SVM)
      {
        d.Va_SVM = -d.Vmax_SVM;
      }

      if (d.Vb_SVM > d.Vmax_SVM)
      {
        d.Vb_SVM = d.Vmax_SVM;
      }
      else if (d.Vb_SVM < -d.Vmax_SVM)
      {
        d.Vb_SVM = -d.Vmax_SVM;
      }

      if (d.Vc_SVM > d.Vmax_SVM)
      {
        d.Vc_SVM = d.Vmax_SVM;
      }
      else if (d.Vc_SVM < -d.Vmax_SVM)
      {
        d.Vc_SVM = -d.Vmax_SVM;
      }

      d.pwm_a = (uint16_t)((d.Va_SVM / d.Vmax_SVM) * TIM1_ARR_HALF + TIM1_ARR_HALF);
      d.pwm_b = (uint16_t)((d.Vb_SVM / d.Vmax_SVM) * TIM1_ARR_HALF + TIM1_ARR_HALF);
      d.pwm_c = (uint16_t)((d.Vc_SVM / d.Vmax_SVM) * TIM1_ARR_HALF + TIM1_ARR_HALF);

      __HAL_TIM_SET_COMPARE(&htim1, TIM_CHANNEL_1, d.pwm_a);
      __HAL_TIM_SET_COMPARE(&htim1, TIM_CHANNEL_2, d.pwm_b);
      __HAL_TIM_SET_COMPARE(&htim1, TIM_CHANNEL_3, d.pwm_c);
    }

    else if (cS == ENC_READ)
    {
      d.encoder_count = __HAL_TIM_GET_COUNTER(&htim2);
    }
  }
}

void HAL_TIM_PeriodElapsedCallback(TIM_HandleTypeDef *htim)
{
  if (htim->Instance == TIM4)
  {
    HAL_TIM_Base_Stop_IT(&htim4);
    #if VH_CAN_ID
    Send_on_CAN_7A1();
    Send_on_CAN_7A2();
    Send_on_CAN_7A3();
    #endif
  }

  if (htim->Instance == TIM17)
  {
    /* Time counter for CAN transmission */
    static uint16_t can_counter = 500;
    can_counter++;

    #if ENABLE_FAULTS
    if (cS == FOC_START || cS == ANGLE_CALIB || cS == OPEN_FOC_START)
    {
      /* Temperature and Encoder disconnection errors */
      Sensor_Disconnection_Check();
      /* Limit Error Checks */
      Error_Check();
    }
    #endif

    if (cS == ANGLE_OFFSET_STORE)
    {
      /* P4: set flag only — blocking I2C write deferred to main loop */
      eeprom_cw_pending  = (uint16_t)(d.offset_angle_mech_cw  * 100.0f);
      eeprom_ccw_pending = (uint16_t)(d.offset_angle_mech_ccw * 100.0f);
      d.offset_angle_mech_avg = (eeprom_ccw_pending + eeprom_cw_pending) / 2.0f;
      eeprom_write_pending = 1;
      cS = ANGLE_CALIB_DONE;  /* Prevent re-entry; main loop performs the write */
    }

    if (cS == RESET_STATE)
    {
      /* Turn off drive completely */
      HAL_GPIO_WritePin(GPIOD, GPIO_PIN_15, GPIO_PIN_SET);
      __HAL_TIM_SET_COMPARE(&htim1, TIM_CHANNEL_1, TIM1_ARR_HALF);
      __HAL_TIM_SET_COMPARE(&htim1, TIM_CHANNEL_2, TIM1_ARR_HALF);
      __HAL_TIM_SET_COMPARE(&htim1, TIM_CHANNEL_3, TIM1_ARR_HALF);
      __HAL_TIM_MOE_DISABLE(&htim1);

      /* Stopping ADC injected interrupt completely */
      HAL_ADCEx_InjectedStop_IT(&hadc2);

      /* Reset FOC Model data structs */
      (void)memset(&FOC_MTPA_FWC_FF_U, 0, sizeof(ExtU_FOC_MTPA_FWC_FF_T));
      (void)memset(&FOC_MTPA_FWC_FF_Y, 0, sizeof(ExtY_FOC_MTPA_FWC_FF_T));

      /* Calling NVIC Reset to reset the system */
      HAL_NVIC_SystemReset();
    }

    /* Queue messages every 500ms */
    if (can_counter >= CAN_BUS_CYCLE)
    {
      can_counter = 0;

      d.canBus_ok = 1;

      /* Check and recover from BUS OFF before queuing */
      FDCAN_ProtocolStatusTypeDef psr;
      HAL_FDCAN_GetProtocolStatus(&hfdcan2, &psr);

      if (psr.BusOff)
      {
        HAL_FDCAN_Stop(&hfdcan2);
        CAN_Queue_Init();           // flush stale queue
        HAL_FDCAN_Start(&hfdcan2);  // re-enters error active after 128×11 recessive bits
        d.canBus_ok = 0;
      }

      if (d.canBus_ok)
      {
        // Only queue - don't process here
        #if DEBUG_CAN_ID
        Send_Data_On_CAN_401();
        Send_Data_On_CAN_402();
        Send_Data_On_CAN_403();
        Send_Data_On_CAN_404();
        Send_Data_On_CAN_405();
        Send_Data_On_CAN_406();
        Send_Data_On_CAN_407();
        Send_Data_On_CAN_408();
        Send_Data_On_CAN_409();
        /* Sending Firmware Ver and Config Ver */
        Send_Data_On_CAN_410();
        #endif

        #if VH_CAN_ID
        Send_on_CAN_705(d.Mtr_temp, d.Mtc_temp);
        #if HLP
        Send_on_CAN_706(d.Vdc, fabsf(d.RPM * RPM_TO_KMPH_HLP), er.error_c1);
        #endif
        #if HI_CITY
        Send_on_CAN_706(d.Vdc, fabsf(d.RPM * RPM_TO_KMPH_HI_CITY), er.error_c1);
        #endif
        #if HI_RANGE
        Send_on_CAN_706(d.Vdc, fabsf(d.RPM * RPM_TO_KMPH_HI_RANGE), er.error_c1);
        #endif
        Send_on_CAN_708(er.error_c2, er.error_c3);
        Send_on_CAN_709(0);
        Send_on_CAN_710(d.throttle_percent, d.throttle_v);
        Send_on_CAN_715(fabsf(d.RPM), d.Vdc, d.Aux_dc);
        Send_on_CAN_716(d.vrms, d.irms);
        Send_on_CAN_717(fabsf(d.RPM));
        Send_on_CAN_724(FOC_MTPA_FWC_FF_Y.T_gen);
        Send_on_CAN_726();
        Schedule_7Ax_Transmission();
        #endif
      }
    }
  }
}

/* FDCAN Rx Callback */
void HAL_FDCAN_RxFifo0Callback(FDCAN_HandleTypeDef *hfdcan, uint32_t RxFifo0ITs)
{
  HAL_FDCAN_GetRxMessage(hfdcan, FDCAN_RX_FIFO0, &RxMessageBuf, rxMsg);

  #if DEBUG_CAN_ID
  if (RxMessageBuf.Identifier == 0x102) {
    d.speed_ref = (float)((rxMsg[1] << 8) | rxMsg[0]);
  }

  else if (RxMessageBuf.Identifier == 0x103) {
    can_d.can_Lambda = (float)((rxMsg[1] << 8) | rxMsg[0]) * 1.0E-5f;
    can_d.can_Ld = (float)((rxMsg[3] << 8) | rxMsg[2]) * 1.0E-8f;
    can_d.can_Lq = (float)((rxMsg[5] << 8) | rxMsg[4]) * 1.0E-7f;

    /* Setting motor params from CAN */
    FOC_MTPA_FWC_FF_U.Motor_Parameters.Lambda = can_d.can_Lambda;
    FOC_MTPA_FWC_FF_U.Motor_Parameters.Ld = can_d.can_Ld;
    FOC_MTPA_FWC_FF_U.Motor_Parameters.Lq = can_d.can_Lq;
  }

  else if (RxMessageBuf.Identifier == 0x104) {
    can_d.canFW_params.Kfw = (float)((rxMsg[1] << 8) | rxMsg[0]) * 1.0E-3f;
    can_d.canFW_params.Kaw = (float)((rxMsg[3] << 8) | rxMsg[2]) * 1.0E-3f;
  }

  else if (RxMessageBuf.Identifier == 0x105) {
    can_d.canSpeed_PID.Kp = (float)((rxMsg[1] << 8) | rxMsg[0]) * 1.0E-2f;
    can_d.canSpeed_PID.Ki = (float)((rxMsg[3] << 8) | rxMsg[2]) * 1.0E-2f;
    can_d.canSpeed_PID.Kd = (float)((rxMsg[5] << 8) | rxMsg[4]) * 1.0E-5f;

    /* Setting Speed PID params on CAN */
    FOC_MTPA_FWC_FF_U.MTPA_PID.Speed_PID_MTPA.Kp_speed_PID_MTPA = can_d.canSpeed_PID.Kp;
    FOC_MTPA_FWC_FF_U.MTPA_PID.Speed_PID_MTPA.Ki_speed_PID_MTPA = can_d.canSpeed_PID.Ki;
    FOC_MTPA_FWC_FF_U.MTPA_PID.Speed_PID_MTPA.Kd_speed_PID_MTPA = can_d.canSpeed_PID.Kd;
  }

  else if (RxMessageBuf.Identifier == 0x106) {
    can_d.canId_PID.Kp = (float)((rxMsg[1] << 8) | rxMsg[0]) * 1.0E-2f;
    can_d.canId_PID.Ki = (float)((rxMsg[3] << 8) | rxMsg[2]) * 1.0E-2f;
    can_d.canId_PID.Kd = (float)((rxMsg[5] << 8) | rxMsg[4]) * 1.0E-5f;

    /* Setting ID PID params on CAN */
    FOC_MTPA_FWC_FF_U.MTPA_PID.Flux_PID_MTPA.Kp_flux_PID_MTPA = can_d.canId_PID.Kp;
    FOC_MTPA_FWC_FF_U.MTPA_PID.Flux_PID_MTPA.Ki_flux_PID_MTPA = can_d.canId_PID.Ki;
    FOC_MTPA_FWC_FF_U.MTPA_PID.Flux_PID_MTPA.Kd_flux_PID_MTPA = can_d.canId_PID.Kd;
  }

  else if (RxMessageBuf.Identifier == 0x107) {
    can_d.canIq_PID.Kp = (float)((rxMsg[1] << 8) | rxMsg[0]) * 1.0E-2f;
    can_d.canIq_PID.Ki = (float)((rxMsg[3] << 8) | rxMsg[2]) * 1.0E-2f;
    can_d.canIq_PID.Kd = (float)((rxMsg[5] << 8) | rxMsg[4]) * 1.0E-5f;

    /* Setting IQ PID params on CAN */
    FOC_MTPA_FWC_FF_U.MTPA_PID.Torque_PID_MTPA.Kp_torque_PID_MTPA = can_d.canIq_PID.Kp;
    FOC_MTPA_FWC_FF_U.MTPA_PID.Torque_PID_MTPA.Ki_torque_PID_MTPA = can_d.canIq_PID.Ki;
    FOC_MTPA_FWC_FF_U.MTPA_PID.Torque_PID_MTPA.Kd_torque_PID_MTPA = can_d.canIq_PID.Kd;
  }

  else if (RxMessageBuf.Identifier == 0x108) {
    can_d.direction = rxMsg[0];
  }
  else if (RxMessageBuf.Identifier == 0x109) {
    can_d.power_mode = rxMsg[0];
  }

  #if CAN_BASED_THRV
  else if (RxMessageBuf.Identifier == 0x110) {
    can_d.can_instV = (float)((rxMsg[1] << 8) | rxMsg[0]);
    can_d.can_instV *= 0.001f;

    /* Setting FOC Model thr voltage on CAN Rx */
    FOC_MTPA_FWC_FF_U.Throttle_input.Throttle_Inst_Voltage = can_d.can_instV;
  }
  #endif

  else if (RxMessageBuf.Identifier == 0x111) {
    can_d.reset_flag = rxMsg[0];

    if (can_d.reset_flag == (uint8_t)1 && fabsf(d.RPM) <= 10.0f) {
      /* Setting fnr state to neutral and making speed ref to 0 */
      d.speed_ref = FOC_MTPA_FWC_FF_U.Ref_Speed_mech_rpm = 0.0f;
      fnr_state = NEUTRAL;
      pw_state = ECO;
      cS = RESET_STATE;
    }
  }
  #endif
}

/* FDCAN TX Complete Callback - automatically sends next message */
void HAL_FDCAN_TxBufferCompleteCallback(FDCAN_HandleTypeDef *hfdcan, uint32_t BufferIndexes)
{
  if (hfdcan->Instance == FDCAN2)
  {
    // Transmission complete, send next message from queue
    CAN_Queue_Process();
  }
}

// Callback
void HAL_FDCAN_ErrorStatusCallback(FDCAN_HandleTypeDef *hfdcan, uint32_t ErrorStatusITs)
{
  if (hfdcan->Instance == FDCAN2)
  {
    if (ErrorStatusITs & FDCAN_IT_BUS_OFF)
    {
      HAL_FDCAN_Stop(&hfdcan2);
      CAN_Queue_Init();
      HAL_FDCAN_Start(&hfdcan2);
    }
  }
}

void HAL_GPIO_EXTI_Callback(uint16_t GPIO_Pin)
{
  if (GPIO_Pin == GPIO_PIN_7)
  {
    d.z_pulse ^= 1;
    d.z_count++;

    //d.elec_angle = 0.0f; // Resetting angle on Z pulse, can be changed to an offset if needed

    if (d.z_count > 4)
      d.z_count = 0;

    /* Stopping uint32_t overflow */
    if (d.z_count >= UINT32_MAX)
    {
      d.z_count = 0;
    }

    /* Not Resetting mech angle and TIM2 reg on every z index pulse, only getting the TIM2 count */
    if (cS == FOC_START)
    {
      /* Getting TIM2 count at Z trig */
      d.count_at_z = __HAL_TIM_GET_COUNTER(&htim2);
      //			d.mech_angle = 0.0f;
      //			__HAL_TIM_SET_COUNTER(&htim2, 0);
    }

    /* Storing the prev Z count */
    d.prev_z_count = d.curr_z_count;
  }
}

void HAL_TIM_IC_CaptureCallback(TIM_HandleTypeDef *htim)
{
  if (htim->Instance == TIM5)
  {
    if (htim->Channel == HAL_TIM_ACTIVE_CHANNEL_1) // If the interrupt is triggered by channel 1
    {
      /* Using TIM5 to get the initial angle on startup from the encoder PWM duty */
      // Read the IC value
      d.ICvalue = HAL_TIM_ReadCapturedValue(htim, TIM_CHANNEL_1);

      if (d.ICvalue != 0)
      {
        // calculate the Duty Cycle
        d.Duty = (HAL_TIM_ReadCapturedValue(htim, TIM_CHANNEL_2) * 100.0f) / d.ICvalue;

        d.Frequency = (float)HAL_RCC_GetSysClockFreq() / (d.ICvalue * (TIM5_PSC + 1));

        d.abs_Angle_pwm = (100.0f - d.Duty) * 0.01f * TWO_PI - HIGH_PULSE16_ERROR;
        d.abs_Angle_pwm = fmodf(d.abs_Angle_pwm, TWO_PI);
      }
    }
  }
}

void delay_us(uint32_t us)
{
  SysTick->VAL = 0;
  while(us--) {
    while(!(SysTick->CTRL & SysTick_CTRL_COUNTFLAG_Msk));
  }
}
/* USER CODE END 4 */

void Error_Handler(void)
{
  __disable_irq();
  while (1)
  {
  }
}
